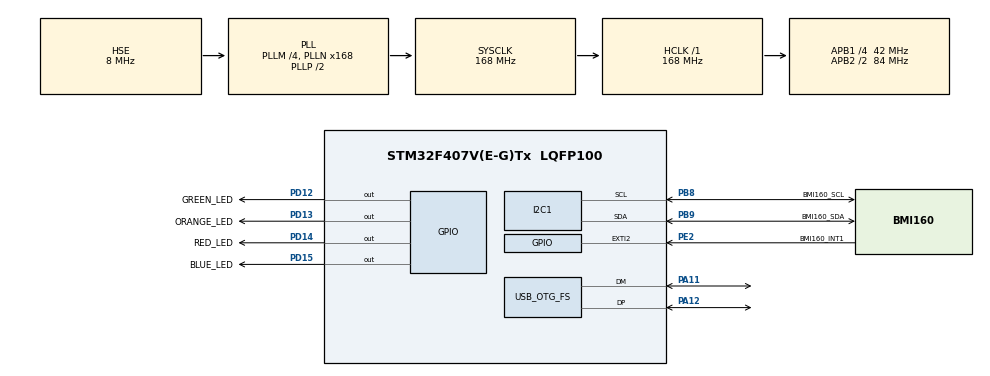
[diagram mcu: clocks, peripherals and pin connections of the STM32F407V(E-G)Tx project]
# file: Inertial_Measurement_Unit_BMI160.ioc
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I2C1.I2C_Mode=I2C_Standard
Mcu.Family=STM32F4
Mcu.Name=STM32F407V(E-G)Tx
Mcu.Package=LQFP100
NVIC.EXTI2_IRQn=true\:0\:0\:false\:false\:true\:true\:true\:true
NVIC.OTG_FS_IRQn=true\:0\:0\:false\:false\:true\:false\:true\:true
NVIC.PriorityGroup=NVIC_PRIORITYGROUP_0
PA11.Mode=Device_Only
PA11.Signal=USB_OTG_FS_DM
PA12.Mode=Device_Only
PA12.Signal=USB_OTG_FS_DP
PB8.GPIO_Label=BMI160_SCL
PB8.Mode=I2C
PB8.Signal=I2C1_SCL
PB9.GPIO_Label=BMI160_SDA
PB9.Mode=I2C
PB9.Signal=I2C1_SDA
PD12.GPIO_Label=GREEN_LED
PD12.Signal=GPIO_Output
PD13.GPIO_Label=ORANGE_LED
PD13.Signal=GPIO_Output
PD14.GPIO_Label=RED_LED
PD14.Signal=GPIO_Output
PD15.GPIO_Label=BLUE_LED
PD15.Signal=GPIO_Output
PE2.GPIO_Label=BMI160_INT1
PE2.GPIO_ModeDefaultEXTI=GPIO_MODE_IT_FALLING
PE2.Signal=GPXTI2
PH0-OSC_IN.GPIO_Label=OSC_IN
PH0-OSC_IN.Mode=HSE-External-Oscillator
PH0-OSC_IN.Signal=RCC_OSC_IN
PH1-OSC_OUT.GPIO_Label=OSC_OUT
PH1-OSC_OUT.Mode=HSE-External-Oscillator
PH1-OSC_OUT.Signal=RCC_OSC_OUT
ProjectManager.HeapSize=0x200
ProjectManager.StackSize=0x400
ProjectManager.TargetToolchain=STM32CubeIDE
RCC.48MHZClocksFreq_Value=48000000
RCC.AHBFreq_Value=168000000
RCC.APB1CLKDivider=RCC_HCLK_DIV4
RCC.APB1Freq_Value=42000000
RCC.APB1TimFreq_Value=84000000
RCC.APB2CLKDivider=RCC_HCLK_DIV2
RCC.APB2Freq_Value=84000000
RCC.APB2TimFreq_Value=168000000
RCC.CortexFreq_Value=168000000
RCC.HCLKFreq_Value=168000000
RCC.HSE_VALUE=8000000
RCC.HSI_VALUE=16000000
RCC.LSE_VALUE=32768
RCC.PLLM=4
RCC.PLLN=168
RCC.PLLQ=7
RCC.SYSCLKFreq_VALUE=168000000
RCC.SYSCLKSource=RCC_SYSCLKSOURCE_PLLCLK
RCC.VCOOutputFreq_Value=336000000
TIM6.Period=41999
USB_DEVICE.CLASS_NAME_FS=CDC
USB_DEVICE.VirtualMode-CDC_FS=Cdc
USB_DEVICE.VirtualModeFS=Cdc_FS
USB_OTG_FS.VirtualMode=Device_Only
VP_TIM6_VS_ClockSourceINT.Mode=Enable_Timer
VP_USB_DEVICE_VS_USB_DEVICE_CDC_FS.Mode=CDC_FS
board=STM32F407G-DISC1

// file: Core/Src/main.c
/* USER CODE BEGIN Header */
/**
  ******************************************************************************
  * @file           : main.c
  * @brief          : Main program body
  ******************************************************************************
  * @attention
  *
  * Copyright (c) 2025 STMicroelectronics.
  * All rights reserved.
  *
  * This software is licensed under terms that can be found in the LICENSE file
  * in the root directory of this software component.
  * If no LICENSE file comes with this software, it is provided AS-IS.
  *
  ******************************************************************************
  */
/* USER CODE END Header */
#include "main.h"
#include "usb_device.h"

/* USER CODE BEGIN Includes */
#include "usbd_cdc_if.h"
#include <string.h>
#include <stdio.h>
#include "bmi160_port.h"
#include "bmi160.h"
/* USER CODE END Includes */

/* USER CODE BEGIN PD */
#define DEGREES_TO_RADIAN		(( double )((M_PI / 180.0f)))
#define RADIAN_TO_DEGREES		(( double )((180.0f / M_PI)))
/* USER CODE END PD */

I2C_HandleTypeDef hi2c1;

TIM_HandleTypeDef htim6;

/* USER CODE BEGIN PV */
struct bmi160_dev bmi160 = {0};													/*! 	@brief variable to hold the bmi160 main data 		*/
char usb_msg[100U]={0U};
/* USER CODE END PV */

void SystemClock_Config(void);
static void MX_GPIO_Init(void);
static void MX_I2C1_Init(void);
static void MX_TIM6_Init(void);

/* USER CODE BEGIN 0 */
volatile union bmi160_int_status int_stat = {0};
volatile uint8_t calib_flag = 0U;
const uint32_t iter_num = 2000U;
void HAL_GPIO_EXTI_Callback(uint16_t GPIO_Pin)
{
	if( GPIO_Pin == BMI160_INT1_Pin )
	{
		memset((void*)int_stat.data,0x00,sizeof(int_stat.data));

		bmi160_get_int_status(BMI160_INT_STATUS_1, (void*)&int_stat, &bmi160);

		if( int_stat.bit.drdy )
		{
			//Calibration Procedure
			if ( calib_flag )
			{
				static uint32_t index = 0U;

				if( bmi160_get_sensor_data((BMI160_ACCEL_SEL | BMI160_GYRO_SEL),&bmi160.accel_data,&bmi160.gyro_data,&bmi160) != BMI160_OK)
				{
				  printf("BMI160 sensor data failed !\n");
				  Error_Handler();
				}

				bmi160.accel_data.x_offset += (double)bmi160.accel_data.x;
				bmi160.accel_data.y_offset += (double)bmi160.accel_data.y;
				bmi160.accel_data.z_offset += (double)bmi160.accel_data.z;

				bmi160.gyro_data.x_offset  += (double)bmi160.gyro_data.x;
				bmi160.gyro_data.y_offset  += (double)bmi160.gyro_data.y;
				bmi160.gyro_data.z_offset  += (double)bmi160.gyro_data.z;

				if ( index++ == iter_num-1)
				{
					/*<! 3-axis accelerometer calibration result offset value  <!*/
					bmi160.accel_data.x_offset = (((bmi160.accel_data.x_offset / (double)iter_num))/ACCEL_SENSITIVITY);
					bmi160.accel_data.y_offset = (((bmi160.accel_data.y_offset / (double)iter_num))/ACCEL_SENSITIVITY);
					bmi160.accel_data.z_offset = ((((bmi160.accel_data.z_offset / (double)iter_num))/ACCEL_SENSITIVITY)-1.0f);

					/*<! 3-axis gyroscope calibration result offset value  <!*/
					bmi160.gyro_data.x_offset = ((bmi160.gyro_data.x_offset / (double)iter_num))/GYRO_SENSITIVITY;
					bmi160.gyro_data.y_offset = ((bmi160.gyro_data.y_offset / (double)iter_num))/GYRO_SENSITIVITY;
					bmi160.gyro_data.z_offset = ((bmi160.gyro_data.z_offset / (double)iter_num))/GYRO_SENSITIVITY;

					// Calibration completed
					calib_flag = 0U;
				}
			}
			else
			{
				if( bmi160_get_acc_gyro(&bmi160) != BMI160_OK)
				{
				  printf("BMI160 sensor data failed !\n");
				  Error_Handler();
				}
			}
		}
	}
}
/* USER CODE END 0 */

int main(void)
{

  /* MCU Configuration--------------------------------------------------------*/

  /* Reset of all peripherals, Initializes the Flash interface and the Systick. */
  HAL_Init();

  /* Configure the system clock */
  SystemClock_Config();

  /* Initialize all configured peripherals */
  MX_GPIO_Init();
  MX_I2C1_Init();
  MX_USB_DEVICE_Init();
  MX_TIM6_Init();
  /* USER CODE BEGIN 2 */

  /* BMI160 Init */
  if(bmi160_interface_init(&bmi160) != BMI160_OK)
  {
	 Error_Handler();
  }

  /* Start Calibration */
  calib_flag = 1U;

  /* USER CODE END 2 */

  /* Infinite loop */
  while (1)
  {

  }
}

void SystemClock_Config(void)
{
  RCC_OscInitTypeDef RCC_OscInitStruct = {0};
  RCC_ClkInitTypeDef RCC_ClkInitStruct = {0};

  /** Configure the main internal regulator output voltage
  */
  __HAL_RCC_PWR_CLK_ENABLE();
  __HAL_PWR_VOLTAGESCALING_CONFIG(PWR_REGULATOR_VOLTAGE_SCALE1);

  /** Initializes the RCC Oscillators according to the specified parameters
  * in the RCC_OscInitTypeDef structure.
  */
  RCC_OscInitStruct.OscillatorType = RCC_OSCILLATORTYPE_HSE;
  RCC_OscInitStruct.HSEState = RCC_HSE_ON;
  RCC_OscInitStruct.PLL.PLLState = RCC_PLL_ON;
  RCC_OscInitStruct.PLL.PLLSource = RCC_PLLSOURCE_HSE;
  RCC_OscInitStruct.PLL.PLLM = 4;
  RCC_OscInitStruct.PLL.PLLN = 168;
  RCC_OscInitStruct.PLL.PLLP = RCC_PLLP_DIV2;
  RCC_OscInitStruct.PLL.PLLQ = 7;
  if (HAL_RCC_OscConfig(&RCC_OscInitStruct) != HAL_OK)
  {
    Error_Handler();
  }

  /** Initializes the CPU, AHB and APB buses clocks
  */
  RCC_ClkInitStruct.ClockType = RCC_CLOCKTYPE_HCLK|RCC_CLOCKTYPE_SYSCLK
                              |RCC_CLOCKTYPE_PCLK1|RCC_CLOCKTYPE_PCLK2;
  RCC_ClkInitStruct.SYSCLKSource = RCC_SYSCLKSOURCE_PLLCLK;
  RCC_ClkInitStruct.AHBCLKDivider = RCC_SYSCLK_DIV1;
  RCC_ClkInitStruct.APB1CLKDivider = RCC_HCLK_DIV4;
  RCC_ClkInitStruct.APB2CLKDivider = RCC_HCLK_DIV2;

  if (HAL_RCC_ClockConfig(&RCC_ClkInitStruct, FLASH_LATENCY_5) != HAL_OK)
  {
    Error_Handler();
  }
}

static void MX_I2C1_Init(void)
{

  hi2c1.Instance = I2C1;
  hi2c1.Init.ClockSpeed = 100000;
  hi2c1.Init.DutyCycle = I2C_DUTYCYCLE_2;
  hi2c1.Init.OwnAddress1 = 0;
  hi2c1.Init.AddressingMode = I2C_ADDRESSINGMODE_7BIT;
  hi2c1.Init.DualAddressMode = I2C_DUALADDRESS_DISABLE;
  hi2c1.Init.OwnAddress2 = 0;
  hi2c1.Init.GeneralCallMode = I2C_GENERALCALL_DISABLE;
  hi2c1.Init.NoStretchMode = I2C_NOSTRETCH_DISABLE;
  if (HAL_I2C_Init(&hi2c1) != HAL_OK)
  {
    Error_Handler();
  }

}

static void MX_TIM6_Init(void)
{

  TIM_MasterConfigTypeDef sMasterConfig = {0};

  htim6.Instance = TIM6;
  htim6.Init.Prescaler = 0;
  htim6.Init.CounterMode = TIM_COUNTERMODE_UP;
  htim6.Init.Period = 41999;
  htim6.Init.AutoReloadPreload = TIM_AUTORELOAD_PRELOAD_DISABLE;
  if (HAL_TIM_Base_Init(&htim6) != HAL_OK)
  {
    Error_Handler();
  }
  sMasterConfig.MasterOutputTrigger = TIM_TRGO_RESET;
  sMasterConfig.MasterSlaveMode = TIM_MASTERSLAVEMODE_DISABLE;
  if (HAL_TIMEx_MasterConfigSynchronization(&htim6, &sMasterConfig) != HAL_OK)
  {
    Error_Handler();
  }

}

static void MX_GPIO_Init(void)
{
  GPIO_InitTypeDef GPIO_InitStruct = {0};

  /* GPIO Ports Clock Enable */
  __HAL_RCC_GPIOE_CLK_ENABLE();
  __HAL_RCC_GPIOH_CLK_ENABLE();
  __HAL_RCC_GPIOD_CLK_ENABLE();
  __HAL_RCC_GPIOA_CLK_ENABLE();
  __HAL_RCC_GPIOB_CLK_ENABLE();

  /*Configure GPIO pin Output Level */
  HAL_GPIO_WritePin(GPIOD, GREEN_LED_Pin|ORANGE_LED_Pin|RED_LED_Pin|BLUE_LED_Pin, GPIO_PIN_RESET);

  /*Configure GPIO pin : BMI160_INT1_Pin */
  GPIO_InitStruct.Pin = BMI160_INT1_Pin;
  GPIO_InitStruct.Mode = GPIO_MODE_IT_FALLING;
  GPIO_InitStruct.Pull = GPIO_NOPULL;
  HAL_GPIO_Init(BMI160_INT1_GPIO_Port, &GPIO_InitStruct);

  /*Configure GPIO pins : GREEN_LED_Pin ORANGE_LED_Pin RED_LED_Pin BLUE_LED_Pin */
  GPIO_InitStruct.Pin = GREEN_LED_Pin|ORANGE_LED_Pin|RED_LED_Pin|BLUE_LED_Pin;
  GPIO_InitStruct.Mode = GPIO_MODE_OUTPUT_PP;
  GPIO_InitStruct.Pull = GPIO_NOPULL;
  GPIO_InitStruct.Speed = GPIO_SPEED_FREQ_LOW;
  HAL_GPIO_Init(GPIOD, &GPIO_InitStruct);

  /* EXTI interrupt init*/
  HAL_NVIC_SetPriority(EXTI2_IRQn, 0, 0);
  HAL_NVIC_EnableIRQ(EXTI2_IRQn);

}

void Error_Handler(void)
{
  /* USER CODE BEGIN Error_Handler_Debug */
  /* User can add his own implementation to report the HAL error return state */
  __disable_irq();
  HAL_GPIO_WritePin(RED_LED_GPIO_Port, RED_LED_Pin, 1U);
  while (1)
  {
  }
  /* USER CODE END Error_Handler_Debug */
}
